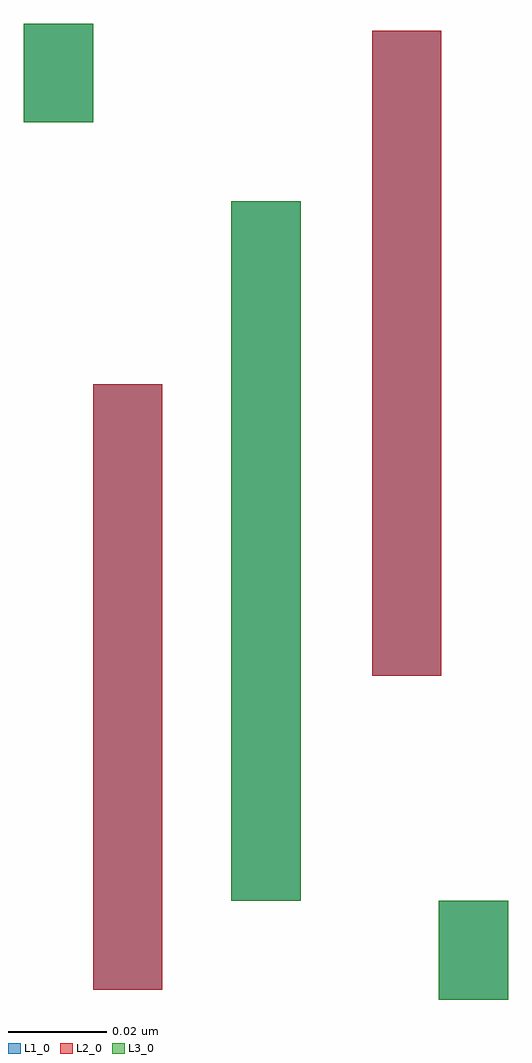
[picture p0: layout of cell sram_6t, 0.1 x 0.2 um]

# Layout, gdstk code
import gdstk
lib = gdstk.Library(unit=1e-6, precision=5e-10)
def R(c, l, rs):  # rectangles x0, y0, x1, y1
    for r in rs: c.add(gdstk.rectangle(r[:2], r[2:], *l))
L1_0 = (1, 0)
L2_0 = (2, 0)
L3_0 = (3, 0)

sram_6t = lib.new_cell('sram_6t')
R(sram_6t, L1_0, [(0.1055,0.0325,0.1195,0.0525), (0.0355,0.0345,0.0495,0.157), (0.0635,0.0525,0.0775,0.194), (0.092,0.098,0.106,0.2285), (0.0215,0.21,0.0355,0.23)])
R(sram_6t, L2_0, [(0.0355,0.0345,0.0495,0.157), (0.092,0.098,0.106,0.2285)])
R(sram_6t, L3_0, [(0.1055,0.0325,0.1195,0.0525), (0.0635,0.0525,0.0775,0.194), (0.0215,0.21,0.0355,0.23)])

lib.write_gds('sram_6t.gds')
